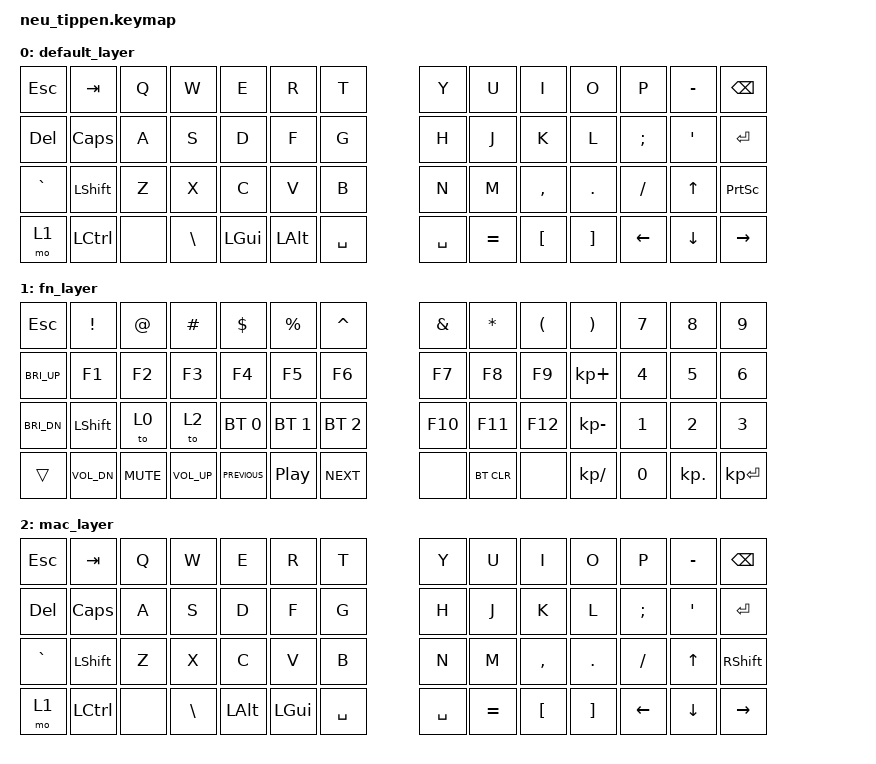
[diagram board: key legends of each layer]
// This file was generated from a template. Edit it to match your keyboard.
// See https://zmk.dev/docs/development/hardware-integration/new-shield for more instructions.

#include <behaviors.dtsi>
#include <dt-bindings/zmk/keys.h>
#include <dt-bindings/zmk/bt.h>

/ {
    // Position order = row-major, left half first (0-27) then
    // right half (28-55), matching the matrix transform in
    // neu_tippen.dtsi.
    keymap {
        compatible = "zmk,keymap";

        default_layer {
            bindings = <
// ---- Left half ----
&kp ESC   &kp TAB   &kp Q &kp W &kp E &kp R &kp T
&kp DEL   &kp CAPS  &kp A &kp S &kp D &kp F &kp G
&kp GRAVE &kp LSHFT &kp Z &kp X &kp C &kp V &kp B
&mo 1     &kp LCTRL &none &kp BACKSLASH &kp LGUI &kp LALT &kp SPACE

// ---- Right half ----
&kp Y     &kp U &kp I     &kp O    &kp P    &kp MINUS    &kp BSPC
&kp H     &kp J &kp K     &kp L    &kp SEMI &kp SQT  &kp RET
&kp N     &kp M &kp COMMA &kp DOT  &kp FSLH &kp UP   &kp PSCRN
&kp SPACE &kp EQUAL &kp LBKT &kp RBKT  &kp LEFT &kp DOWN &kp RIGHT
            >;
        };

        fn_layer {
            bindings = <
// ---- Left half: F-keys, media keys on the spare column ----
&kp ESC &kp EXCL &kp AT &kp HASH  &kp DLLR &kp PRCNT  &kp CARET
&kp C_BRI_UP  &kp F1 &kp F2 &kp F3 &kp F4 &kp F5 &kp F6
&kp C_BRI_DN &kp LSHFT  &to 0  &to 2  &bt BT_SEL 0 &bt BT_SEL 1 &bt BT_SEL 2
&trans  &kp C_VOL_DN     &kp C_MUTE     &kp C_VOL_UP    &kp C_PREVIOUS    &kp C_PLAY_PAUSE       &kp C_NEXT 

// ---- Right half: numpad row / F-keys / brightness+screenshot ----
&kp AMPS &kp ASTRK  &kp LPAR  &kp RPAR  &kp N7 &kp N8 &kp N9
&kp F7 &kp F8 &kp F9  &kp KP_PLUS &kp N4 &kp N5 &kp N6
&kp F10  &kp F11   &kp F12  &kp KP_MINUS &kp N1 &kp N2 &kp N3
&none &bt BT_CLR  &none  &kp KP_DIVIDE &kp N0 &kp KP_DOT &kp KP_ENTER
            >;
        };

        mac_layer {
            bindings = <
// ---- Left half ----
&kp ESC   &kp TAB   &kp Q &kp W &kp E &kp R &kp T
&kp DEL   &kp CAPS  &kp A &kp S &kp D &kp F &kp G
&kp GRAVE &kp LSHFT &kp Z &kp X &kp C &kp V &kp B
&mo 1 &kp LCTRL &none &kp BACKSLASH &kp LALT &kp LGUI &kp SPACE

// ---- Right half ----
&kp Y     &kp U &kp I     &kp O    &kp P    &kp MINUS    &kp BSPC
&kp H     &kp J &kp K     &kp L    &kp SEMI &kp SQT  &kp RET
&kp N     &kp M &kp COMMA &kp DOT  &kp FSLH &kp UP   &kp RSHFT
&kp SPACE &kp EQUAL &kp LBKT &kp RBKT  &kp LEFT &kp DOWN &kp RIGHT
            >;
        };
    };
};
